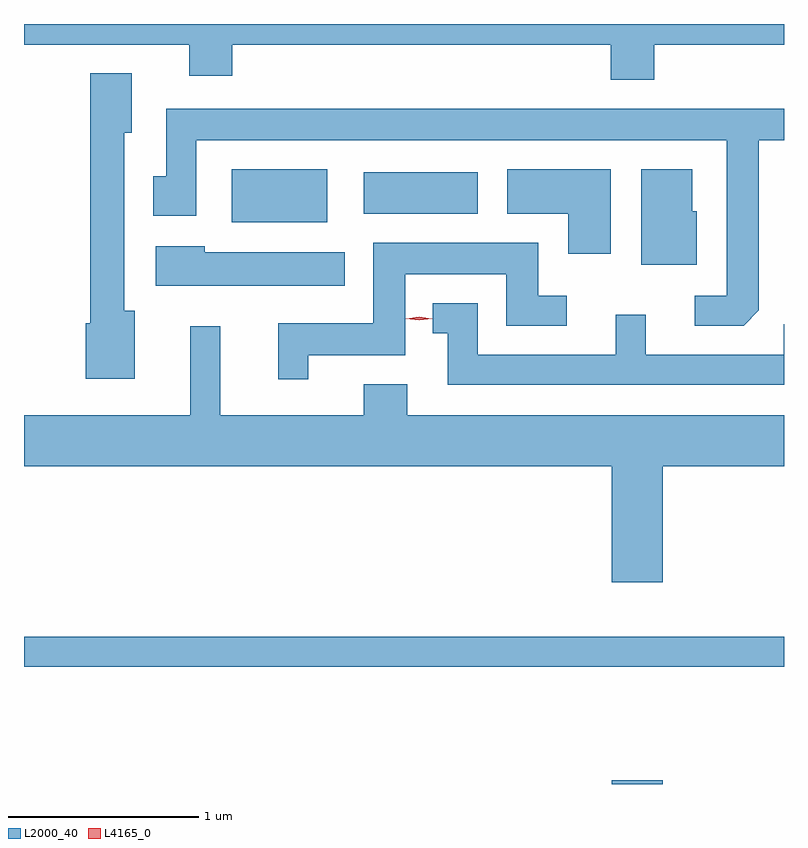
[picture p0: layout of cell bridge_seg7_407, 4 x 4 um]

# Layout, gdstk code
import gdstk
lib = gdstk.Library(unit=1e-6, precision=1e-09)
def R(c, l, rs):  # rectangles x0, y0, x1, y1
    for r in rs: c.add(gdstk.rectangle(r[:2], r[2:], *l))
def P(c, l, *ps):  # polygons
    for p in ps: c.add(gdstk.Polygon(p, *l))
L2000_40 = (2000, 40)
L4165_0 = (4165, 0)

bridge_seg7_407 = lib.new_cell('bridge_seg7_407')
R(bridge_seg7_407, L2000_40, [(1094.196,1725.964,1094.464,1725.984), (1091.102,1726.581,1095.102,1726.739), (1092.196,1728.921,1092.699,1729.199), (1092.891,1728.966,1093.489,1729.184)])
P(bridge_seg7_407, L2000_40, [(1094.419,1729.856),(1095.102,1729.856),(1095.102,1729.964),(1091.102,1729.964),(1091.102,1729.856),(1091.971,1729.856),(1091.971,1729.691),(1092.199,1729.691),(1092.199,1729.856),(1094.191,1729.856),(1094.191,1729.671),(1094.419,1729.671)],
  [(1091.684,1728.454),(1091.629,1728.454),(1091.629,1729.391),(1091.669,1729.391),(1091.669,1729.704),(1091.451,1729.704),(1091.451,1728.389),(1091.426,1728.389),(1091.426,1728.096),(1091.684,1728.096)],
  [(1094.969,1728.457),(1094.969,1729.351),(1095.102,1729.351),(1095.102,1729.519),(1091.851,1729.519),(1091.851,1729.164),(1091.781,1729.164),(1091.781,1728.956),(1092.009,1728.956),(1092.009,1729.351),(1094.801,1729.351),(1094.801,1728.534),(1094.633,1728.534),(1094.633,1728.376),(1094.889,1728.376)],
  [(1094.644,1728.979),(1094.619,1728.979),(1094.619,1729.199),(1094.351,1729.199),(1094.351,1728.696),(1094.644,1728.696)],
  [(1094.189,1729.199),(1093.646,1729.199),(1093.646,1728.966),(1093.966,1728.966),(1093.966,1728.756),(1094.189,1728.756)],
  [(1092.599,1728.221),(1093.109,1728.221),(1093.109,1728.646),(1093.641,1728.646),(1093.641,1728.376),(1093.958,1728.376),(1093.958,1728.534),(1093.809,1728.534),(1093.809,1728.814),(1092.941,1728.814),(1092.941,1728.389),(1092.441,1728.389),(1092.441,1728.093),(1092.599,1728.093)],
  [(1092.789,1728.764),(1092.054,1728.764),(1092.054,1728.794),(1091.796,1728.794),(1091.796,1728.586),(1092.789,1728.586)],
  [(1095.102,1728.384),(1095.101,1728.384),(1095.101,1728.224),(1094.374,1728.224),(1094.374,1728.433),(1094.216,1728.433),(1094.216,1728.224),(1093.489,1728.224),(1093.489,1728.494),(1093.253,1728.494),(1093.253,1728.336),(1093.331,1728.336),(1093.331,1728.066),(1095.102,1728.066)],
  [(1094.464,1727.636),(1095.102,1727.636),(1095.102,1727.904),(1093.119,1727.904),(1093.119,1728.069),(1092.891,1728.069),(1092.891,1727.904),(1092.134,1727.904),(1092.134,1728.373),(1091.976,1728.373),(1091.976,1727.904),(1091.102,1727.904),(1091.102,1727.636),(1094.196,1727.636),(1094.196,1727.026),(1094.464,1727.026)])
P(bridge_seg7_407, L4165_0, [(1093.181,1728.404),(1093.112,1728.413),(1093.112,1728.414),(1093.112,1728.414),(1093.181,1728.424),(1093.251,1728.414),(1093.251,1728.414),(1093.251,1728.413)])

lib.write_gds('bridge_seg7_407.gds')
